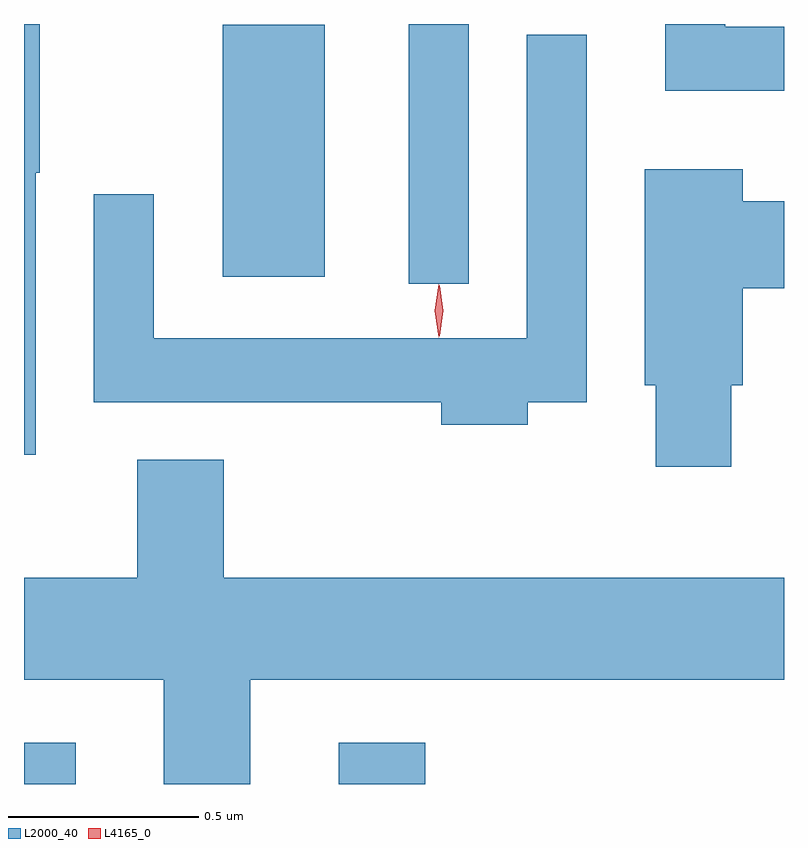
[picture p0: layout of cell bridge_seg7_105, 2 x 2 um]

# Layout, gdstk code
import gdstk
lib = gdstk.Library(unit=1e-6, precision=1e-09)
def R(c, l, rs):  # rectangles x0, y0, x1, y1
    for r in rs: c.add(gdstk.rectangle(r[:2], r[2:], *l))
def P(c, l, *ps):  # polygons
    for p in ps: c.add(gdstk.Polygon(p, *l))
L2000_40 = (2000, 40)
L4165_0 = (4165, 0)

bridge_seg7_105 = lib.new_cell('bridge_seg7_105')
R(bridge_seg7_105, L2000_40, [(1496.423,1756.221,1496.559,1756.329), (1497.251,1756.221,1497.479,1756.329), (1497.436,1757.538,1497.594,1758.221), (1496.946,1757.556,1497.214,1758.219)])
P(bridge_seg7_105, L2000_40, [(1496.454,1757.83),(1496.464,1757.83),(1496.464,1758.221),(1496.423,1758.221),(1496.423,1757.088),(1496.454,1757.088)],
  [(1498.423,1758.214),(1498.269,1758.214),(1498.269,1758.221),(1498.111,1758.221),(1498.111,1758.046),(1498.423,1758.046)],
  [(1497.749,1757.226),(1497.904,1757.226),(1497.904,1758.193),(1497.746,1758.193),(1497.746,1757.394),(1496.764,1757.394),(1496.764,1757.773),(1496.606,1757.773),(1496.606,1757.226),(1497.521,1757.226),(1497.521,1757.166),(1497.749,1757.166)],
  [(1498.284,1757.271),(1498.314,1757.271),(1498.314,1757.526),(1498.423,1757.526),(1498.423,1757.754),(1498.314,1757.754),(1498.314,1757.839),(1498.056,1757.839),(1498.056,1757.271),(1498.086,1757.271),(1498.086,1757.056),(1498.284,1757.056)],
  [(1497.019,1756.496),(1498.423,1756.496),(1498.423,1756.764),(1496.949,1756.764),(1496.949,1757.074),(1496.721,1757.074),(1496.721,1756.764),(1496.423,1756.764),(1496.423,1756.496),(1496.791,1756.496),(1496.791,1756.221),(1497.019,1756.221)])
P(bridge_seg7_105, L4165_0, [(1497.517,1757.399),(1497.516,1757.4),(1497.506,1757.466),(1497.516,1757.532),(1497.516,1757.533),(1497.517,1757.532),(1497.526,1757.466),(1497.517,1757.4)],
  [(1497.514,1757.397),(1497.514,1757.397),(1497.504,1757.466),(1497.514,1757.536),(1497.514,1757.536),(1497.515,1757.536),(1497.524,1757.466),(1497.515,1757.397)])

lib.write_gds('bridge_seg7_105.gds')
